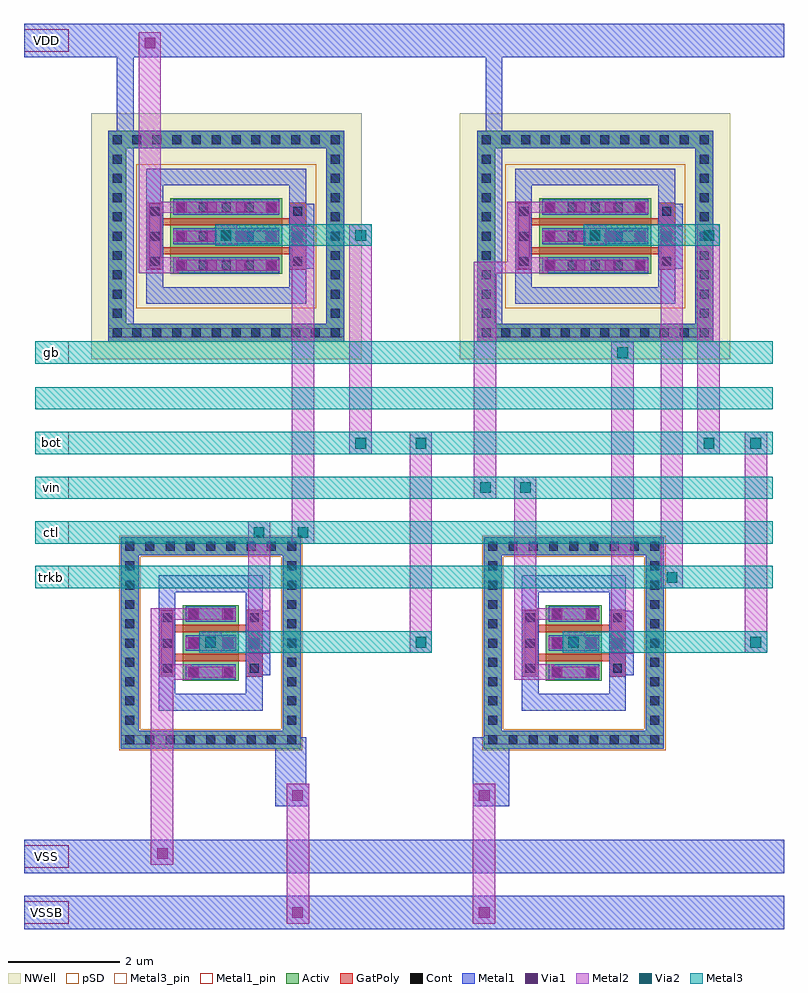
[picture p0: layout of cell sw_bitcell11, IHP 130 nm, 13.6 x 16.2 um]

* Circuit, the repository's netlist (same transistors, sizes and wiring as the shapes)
* bottom-plate driver + boosted-gate vin switch, gated VSS + separate substrate rail
.subckt sw_bitcell11 bot vin ctl trkb gb VDD VSS VSSB
MND bot ctl VSS VSSB sg13_lv_nmos w=2.0u l=0.13u rfmode=1
MPD bot ctl VDD VDD sg13_lv_pmos w=4.0u l=0.13u rfmode=1
MNT bot gb vin VSSB sg13_lv_nmos w=2.0u l=0.13u rfmode=1
MPT bot trkb vin VDD sg13_lv_pmos w=4.0u l=0.13u rfmode=1
.ends

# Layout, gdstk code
import gdstk
lib = gdstk.Library(unit=1e-6, precision=1e-09)
def R(c, l, rs):  # rectangles x0, y0, x1, y1
    for r in rs: c.add(gdstk.rectangle(r[:2], r[2:], *l))
def A(c, l, x, y, w, h, nx, ny, dx, dy):  # array of equal rectangles
    R(c, l, [(x+i*dx, y+j*dy, x+i*dx+w, y+j*dy+h) for i in range(nx) for j in range(ny)])
def P(c, l, *ps):  # polygons
    for p in ps: c.add(gdstk.Polygon(p, *l))
Activ = (1, 0)
GatPoly = (5, 0)
Cont = (6, 0)
Metal1 = (8, 0)
Metal1_pin = (8, 2)
Metal2 = (10, 0)
pSD = (14, 0)
Via1 = (19, 0)
Via2 = (29, 0)
Metal3 = (30, 0)
Metal3_pin = (30, 2)
NWell = (31, 0)

rfnmos = lib.new_cell('rfnmos')
R(rfnmos, Activ, [(1.14,1.245,2.14,2.595)])
P(rfnmos, Activ, [(0.03,0.03),(0.03,3.49),(0.35,3.49),(0.35,0.35),(2.93,0.35),(2.93,3.49),(0.03,3.49),(0.03,3.81),(3.25,3.81),(3.25,0.03)])
R(rfnmos, GatPoly, [(0.71,1.32,1.01,2.52), (2.27,1.32,2.57,2.52), (1.01,1.595,2.27,1.725), (1.01,2.115,2.27,2.245)])
A(rfnmos, Cont, 0.11, 0.46, 0.16, 0.16, 1, 9, 0, 0.345)
A(rfnmos, Cont, 3.01, 0.46, 0.16, 0.16, 1, 9, 0, 0.345)
A(rfnmos, Cont, 1.24, 1.32, 0.16, 0.16, 1, 3, 0, 0.52)
A(rfnmos, Cont, 1.88, 1.32, 0.16, 0.16, 1, 3, 0, 0.52)
A(rfnmos, Cont, 0.78, 1.39, 0.16, 0.16, 1, 3, 0, 0.45)
A(rfnmos, Cont, 2.34, 1.39, 0.16, 0.16, 1, 3, 0, 0.45)
R(rfnmos, Cont, [(0.11,0.11,0.27,0.27), (0.47,0.11,0.63,0.27), (0.835,0.11,0.995,0.27), (1.195,0.11,1.355,0.27), (1.56,0.11,1.72,0.27), (1.92,0.11,2.08,0.27), (2.285,0.11,2.445,0.27), (2.645,0.11,2.805,0.27), (3.01,0.11,3.17,0.27), (0.11,3.57,0.27,3.73), (0.47,3.57,0.63,3.73), (0.835,3.57,0.995,3.73), (1.195,3.57,1.355,3.73), (1.56,3.57,1.72,3.73), (1.92,3.57,2.08,3.73), (2.285,3.57,2.445,3.73), (2.645,3.57,2.805,3.73), (3.01,3.57,3.17,3.73)])
A(rfnmos, Metal1, 1.19, 1.26, 0.9, 0.28, 1, 3, 0, 0.52)
R(rfnmos, Metal1, [(0.03,0.03,3.25,0.35), (0.03,0.35,0.35,3.49), (2.93,0.35,3.25,3.49), (0.76,1.34,0.96,2.5), (2.32,1.34,2.52,2.5), (0.03,3.49,3.25,3.81)])
P(rfnmos, Metal1, [(0.71,0.71),(0.71,2.83),(1.01,2.83),(1.01,1.01),(2.27,1.01),(2.27,2.83),(0.71,2.83),(0.71,3.13),(2.57,3.13),(2.57,0.71)])
R(rfnmos, Metal1_pin, [(0.03,0.11,3.25,0.27), (0.03,0.11,3.25,0.27), (1.19,1.26,2.09,1.54), (1.19,1.26,2.09,1.54), (0.76,1.34,0.96,2.5), (0.76,1.34,0.96,2.5), (1.19,1.78,2.09,2.06), (1.19,1.78,2.09,2.06)])
A(rfnmos, Metal2, 1.19, 1.3, 0.9, 0.2, 1, 3, 0, 0.52)
P(rfnmos, pSD, [(0,0),(0,3.46),(0.38,3.46),(0.38,0.38),(2.9,0.38),(2.9,3.46),(0,3.46),(0,3.84),(3.28,3.84),(3.28,0)])
A(rfnmos, Via1, 1.24, 1.305, 0.19, 0.19, 1, 3, 0, 0.52)
A(rfnmos, Via1, 1.85, 1.305, 0.19, 0.19, 1, 3, 0, 0.52)
rfnmos.add(gdstk.Label('S', (1.64,1.42), layer=63, texttype=0))
rfnmos.add(gdstk.Label('D', (1.64,1.94), layer=63, texttype=0))
rfnmos.add(gdstk.Label('G', (0.86,1.92), layer=63, texttype=0))
rfnmos.add(gdstk.Label('TIE', (1.64,0.19), layer=63, texttype=0))
rfnmos.add(gdstk.Label('rfnmos', (1.64,3.65), layer=63, texttype=0))

rfpmos = lib.new_cell('rfpmos')
R(rfpmos, Activ, [(1.42,1.525,3.42,2.875)])
P(rfpmos, Activ, [(0.31,0.31),(0.31,3.77),(0.63,3.77),(0.63,0.63),(4.21,0.63),(4.21,3.77),(0.31,3.77),(0.31,4.09),(4.53,4.09),(4.53,0.31)])
R(rfpmos, GatPoly, [(0.99,1.6,1.29,2.8), (3.55,1.6,3.85,2.8), (1.29,1.875,3.55,2.005), (1.29,2.395,3.55,2.525)])
A(rfpmos, Cont, 0.74, 0.39, 0.16, 0.16, 11, 2, 0.355, 3.46)
A(rfpmos, Cont, 0.39, 0.74, 0.16, 0.16, 1, 9, 0, 0.345)
A(rfpmos, Cont, 4.29, 0.74, 0.16, 0.16, 1, 9, 0, 0.345)
A(rfpmos, Cont, 1.52, 1.6, 0.16, 0.16, 5, 3, 0.41, 0.52)
A(rfpmos, Cont, 1.06, 1.67, 0.16, 0.16, 1, 3, 0, 0.45)
A(rfpmos, Cont, 3.62, 1.67, 0.16, 0.16, 1, 3, 0, 0.45)
R(rfpmos, Cont, [(0.39,0.39,0.55,0.55), (0.39,3.85,0.55,4.01)])
A(rfpmos, Metal1, 1.47, 1.54, 1.9, 0.28, 1, 3, 0, 0.52)
R(rfpmos, Metal1, [(0.31,0.31,4.53,0.63), (0.31,0.63,0.63,3.77), (4.21,0.63,4.53,3.77), (1.04,1.62,1.24,2.78), (3.6,1.62,3.8,2.78), (0.31,3.77,4.53,4.09)])
P(rfpmos, Metal1, [(0.99,0.99),(0.99,3.11),(1.29,3.11),(1.29,1.29),(3.55,1.29),(3.55,3.11),(0.99,3.11),(0.99,3.41),(3.85,3.41),(3.85,0.99)])
R(rfpmos, Metal1_pin, [(0.31,0.39,4.53,0.55), (0.31,0.39,4.53,0.55), (1.47,1.54,3.37,1.82), (1.47,1.54,3.37,1.82), (1.04,1.62,1.24,2.78), (1.04,1.62,1.24,2.78), (1.47,2.06,3.37,2.34), (1.47,2.06,3.37,2.34)])
A(rfpmos, Metal2, 1.47, 1.58, 1.9, 0.2, 1, 3, 0, 0.52)
R(rfpmos, pSD, [(0.81,0.91,4.03,3.49)])
A(rfpmos, Via1, 1.52, 1.585, 0.19, 0.19, 3, 3, 0.535, 0.52)
A(rfpmos, Via1, 3.13, 1.585, 0.19, 0.19, 1, 3, 0, 0.52)
R(rfpmos, NWell, [(0,0,4.84,4.4)])
rfpmos.add(gdstk.Label('S', (2.42,1.7), layer=63, texttype=0))
rfpmos.add(gdstk.Label('D', (2.42,2.22), layer=63, texttype=0))
rfpmos.add(gdstk.Label('G', (1.14,2.2), layer=63, texttype=0))
rfpmos.add(gdstk.Label('TIE', (2.42,0.47), layer=63, texttype=0))
rfpmos.add(gdstk.Label('rfpmos', (2.42,3.93), layer=63, texttype=0))

sw_bitcell11 = lib.new_cell('sw_bitcell11')
R(sw_bitcell11, Metal1, [(-1.2,-3.2,12.4,-2.6), (3.5,-3.1,3.9,-2.7), (6.83,-3.1,7.23,-2.7), (-1.2,-2.2,12.4,-1.6), (1.07,-2.05,1.47,-1.65), (3.3,-1,3.85,0.23), (3.5,-1,3.9,-0.6), (6.83,-1,7.23,-0.6), (6.83,-1,7.48,0.23), (2.81,1.34,3.21,2.5), (9.31,1.34,9.71,2.5), (0.46,7.44,0.76,12.4), (7.06,7.44,7.36,12.4), (3.59,8.62,3.99,9.78), (10.19,8.62,10.59,9.78), (-1.2,12.4,12.4,13), (0.85,12.45,1.25,12.85)])
R(sw_bitcell11, Metal1_pin, [(-1.2,-3.1,-0.4,-2.7), (-1.2,-2.1,-0.4,-1.7), (-1.2,12.5,-0.4,12.9)])
R(sw_bitcell11, Metal2, [(3.5,-3.1,3.9,-2.7), (6.83,-3.1,7.23,-2.7), (3.5,-2.9,3.9,-0.8), (6.83,-2.9,7.23,-0.8), (1.07,-2.05,1.47,-1.65), (1.07,-1.9,1.47,1.46), (3.5,-1,3.9,-0.6), (6.83,-1,7.23,-0.6), (1.07,1.26,1.79,1.54), (1.07,1.26,1.47,2.54), (7.57,1.26,8.29,1.54), (7.57,1.26,7.97,2.54), (2.81,1.73,3.21,2.11), (9.31,1.73,9.71,2.11), (1.94,1.75,2.34,2.13), (5.7,1.75,6.1,2.13), (8.44,1.75,8.84,2.13), (11.7,1.75,12.1,2.13), (2.81,1.92,3.21,3.9), (9.31,1.92,9.71,7.12), (5.7,1.94,6.1,5.5), (11.7,1.94,12.1,5.5), (1.07,2.34,1.79,2.54), (7.57,2.34,8.29,2.54), (7.57,2.4,7.97,4.9), (10.19,2.9,10.59,3.3), (10.19,3.1,10.59,9.2), (2.81,3.7,3.21,4.1), (3.59,3.7,3.99,4.1), (3.59,3.9,3.99,9.2), (6.85,4.5,7.25,4.9), (6.85,4.5,7.25,8.74), (7.57,4.5,7.97,4.9), (4.62,5.3,5.02,5.7), (5.7,5.3,6.1,5.7), (10.85,5.3,11.25,5.7), (11.7,5.3,12.1,5.7), (4.62,5.5,5.02,9.22), (10.85,5.5,11.25,9.22), (9.31,6.93,9.71,7.31), (0.85,8.54,1.57,8.82), (0.85,8.54,1.25,9.82), (6.85,8.54,7.85,8.74), (7.45,8.54,8.17,8.82), (7.45,8.54,7.85,9.82), (3.59,9.01,3.99,9.39), (10.19,9.01,10.59,9.39), (2.22,9.03,2.62,9.41), (4.62,9.03,5.02,9.41), (8.82,9.03,9.22,9.41), (10.85,9.03,11.25,9.41), (0.85,9.62,1.57,9.82), (0.85,9.62,1.25,12.7), (7.45,9.62,8.17,9.82), (0.85,12.45,1.25,12.85)])
R(sw_bitcell11, Via1, [(3.6,-3,3.79,-2.81), (6.94,-3,7.13,-2.81), (1.18,-1.94,1.37,-1.75), (3.6,-0.9,3.79,-0.71), (6.94,-0.9,7.13,-0.71), (2.82,1.82,3.01,2.01), (9.32,1.82,9.51,2.01), (3.6,9.1,3.79,9.29), (10.2,9.1,10.39,9.29), (0.96,12.56,1.15,12.75)])
R(sw_bitcell11, Via2, [(2.04,1.84,2.23,2.03), (5.81,1.84,6,2.03), (8.54,1.84,8.73,2.03), (11.8,1.84,11.99,2.03), (10.3,3,10.49,3.19), (2.91,3.8,3.1,3.99), (3.7,3.8,3.89,3.99), (6.96,4.61,7.15,4.8), (7.68,4.61,7.87,4.8), (4.73,5.4,4.92,5.59), (5.81,5.4,6,5.59), (10.96,5.4,11.15,5.59), (11.8,5.4,11.99,5.59), (9.42,7.02,9.61,7.21), (2.32,9.12,2.51,9.31), (4.73,9.12,4.92,9.31), (8.92,9.12,9.11,9.31), (10.96,9.12,11.15,9.31)])
A(sw_bitcell11, Metal3, -1, 2.9, 13.2, 0.4, 1, 5, 0, 0.8)
R(sw_bitcell11, Metal3, [(1.94,1.75,6.1,2.13), (1.94,1.75,2.34,2.13), (5.7,1.75,6.1,2.13), (8.44,1.75,8.84,2.13), (8.44,1.75,12.1,2.13), (11.7,1.75,12.1,2.13), (10.19,2.9,10.59,3.3), (2.81,3.7,3.21,4.1), (3.59,3.7,3.99,4.1), (6.85,4.5,7.25,4.9), (7.57,4.5,7.97,4.9), (4.62,5.3,5.02,5.7), (5.7,5.3,6.1,5.7), (10.85,5.3,11.25,5.7), (11.7,5.3,12.1,5.7), (-1,6.92,12.2,7.32), (9.31,6.93,9.71,7.31), (2.22,9.03,2.62,9.41), (2.22,9.03,5.02,9.41), (4.62,9.03,5.02,9.41), (8.82,9.03,9.22,9.41), (8.82,9.03,11.25,9.41), (10.85,9.03,11.25,9.41)])
A(sw_bitcell11, Metal3_pin, -1, 2.9, 0.6, 0.4, 1, 4, 0, 0.8)
R(sw_bitcell11, Metal3_pin, [(-1,6.92,-0.4,7.32)])
sw_bitcell11.add(gdstk.Reference(rfnmos, (0.5,0)))
sw_bitcell11.add(gdstk.Reference(rfnmos, (7,0)))
sw_bitcell11.add(gdstk.Reference(rfpmos, (0,7)))
sw_bitcell11.add(gdstk.Reference(rfpmos, (6.6,7)))
sw_bitcell11.add(gdstk.Label('VSS', (-0.8,-1.9), layer=8, texttype=25))
sw_bitcell11.add(gdstk.Label('VSSB', (-0.8,-2.9), layer=8, texttype=25))
sw_bitcell11.add(gdstk.Label('VDD', (-0.8,12.7), layer=8, texttype=25))
sw_bitcell11.add(gdstk.Label('bot', (-0.7,5.5), layer=30, texttype=25))
sw_bitcell11.add(gdstk.Label('vin', (-0.7,4.7), layer=30, texttype=25))
sw_bitcell11.add(gdstk.Label('ctl', (-0.7,3.9), layer=30, texttype=25))
sw_bitcell11.add(gdstk.Label('trkb', (-0.7,3.1), layer=30, texttype=25))
sw_bitcell11.add(gdstk.Label('gb', (-0.7,7.12), layer=30, texttype=25))

lib.write_gds('sw_bitcell11.gds')
